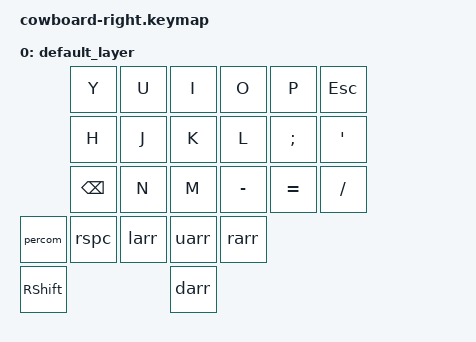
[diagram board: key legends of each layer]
#include <behaviors.dtsi>
#include <dt-bindings/zmk/keys.h>
#include <dt-bindings/zmk/bt.h>

/ {
    behaviors {
        percom: period_comma {
            compatible = "zmk, behavior-mod-morph";
            #binding-cells = <0>;
            bindings = <&kp KP_DOT>, <&kp KP_COMMA>;
            mods = <(MOD_RSFT)>;
        };
        
        larr: left_arrow {
            compatible = "zmk, behavior-mod-morph";
            #binding-cells = <0>;
            bindings = <&kp LEFT_ARROW>, <&kp C_PREVIOUS>;
            mods = <(MOD_RSFT)>;
        };

        uarr: up_arrow {
            compatible = "zmk, behavior-mod-morph";
            #binding-cells = <0>;
            bindings = <&kp UP_ARROW>, <&kp C_VOLUME_UP>;
            mods = <(MOD_RSFT)>;
        };

        rarr: right_arrow {
            compatible = "zmk, behavior-mod-morph";
            #binding-cells = <0>;
            bindings = <&kp RIGHT_ARROW>, <&kp C_NEXT>;
            mods = <(MOD_RSFT)>;
        };

        darr: down_arrow {
            compatible = "zmk, behavior-mod-morph";
            #binding-cells = <0>;
            bindings = <&kp DOWN_ARROW>, <&kp C_VOLUME_DOWN>;
            mods = <(MOD_RSFT)>;
        };

        rspc: right_space {
            compatible = "zmk, behavior-mod-morph";
            #binding-cells = <0>;
            bindings = <&kp SPACE>, <&kp C_PLAY_PAUSE>;
            mods = <(MOD_RSFT)>;
        };
    };

    keymap {
        compatible = "zmk,keymap";

        default_layer {
// -----------------------------------------------------------------------
//           |    Y    |    U    |    I    |    O    |    P    |   ESC   |  
//           |    H    |    J    |    K    |    L    |   ;/:   |   '/"   |     
// |BACKSPACE|    N    |    M    |   -/_   |   =/+   |   //?   |
// |  ./,    |  SPACE  |  ←/PREV | ↑/VOL UP|  →/NEXT |
// |  RSHIFT |  SPACE            |↓/VOL DWN|
            bindings = <
                  &kp Y     &kp U    &kp I     &kp O     &kp P         &kp ESCAPE                                    
                  &kp H     &kp J    &kp K     &kp L     &kp SEMICOLON &kp SINGLE_QUOTE                                            
    &kp BACKSPACE &kp N     &kp M    &kp MINUS &kp EQUAL &kp SLASH
    &percom       &rspc     &larr    &uarr     &rarr
    &kp RSHIFT                       &darr
            >;
        }
    };
};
